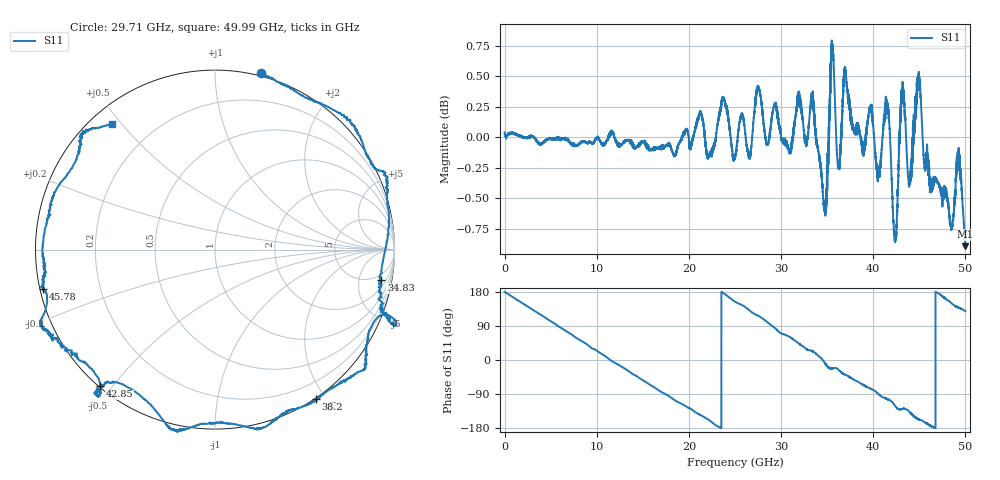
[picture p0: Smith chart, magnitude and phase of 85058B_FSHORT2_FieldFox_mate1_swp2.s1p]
!Created with skrf (http://scikit-rf.org).
# Hz S RI R 50.0
!freq ReS11 ImS11
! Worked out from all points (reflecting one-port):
!   10000 points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, 5.3 MHz to 50 GHz, reference 50 ohm
!   lowest |S11| = -0.9 dB at 50 GHz (marker M1), VSWR 19.43, Z = 3.15 + j23.7 ohm
!   phase of S11 starts at 180 deg and turns -771 deg over the sweep
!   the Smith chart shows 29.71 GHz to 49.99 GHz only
!   S11 on the Smith chart (normalised r, x): 29.71 GHz: -0.02, +1.30; 34.83 GHz: 3, -10; 38.2 GHz: -0.01, -1.88; 42.85 GHz: 0.00, -0.47; 45.78 GHz: 0.01, -0.11; 49.99 GHz: 0.06, +0.47
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5299970  -1.004 0.00198
1.60029e9  -0.9089 0.4215
3.34528e9  -0.6176 0.7839
6.255262e9  0.1253 0.9904
9.460243e9  0.8524 0.5123
1.250522e10  0.9595 -0.2526
1.578521e10  0.4097 -0.8995
1.875519e10  -0.3418 -0.9282
2.126517e10  -0.8407 -0.5837
2.294516e10  -0.9922 -0.1272
2.500515e10  -0.8813 0.4327
2.747014e10  -0.4804 0.9276
2.971012e10  0.2584 0.9828
3.125511e10  0.5719 0.8216
3.35251e10  0.9559 0.3849
3.482509e10  0.9272 -0.1694
3.566509e10  1.004 -0.3981
3.750507e10  0.7163 -0.7368
3.819507e10  0.5622 -0.8339
4.139505e10  -0.2131 -1.005
4.284504e10  -0.6382 -0.762
4.375504e10  -0.6535 -0.7103
4.481003e10  -0.9582 -0.4351
4.577503e10  -0.9559 -0.2214
4.776501e10  -0.9125 0.2748
4.907001e10  -0.7484 0.6183
4.9985e10  -0.5718 0.699
5e10  -0.5682 0.7007
